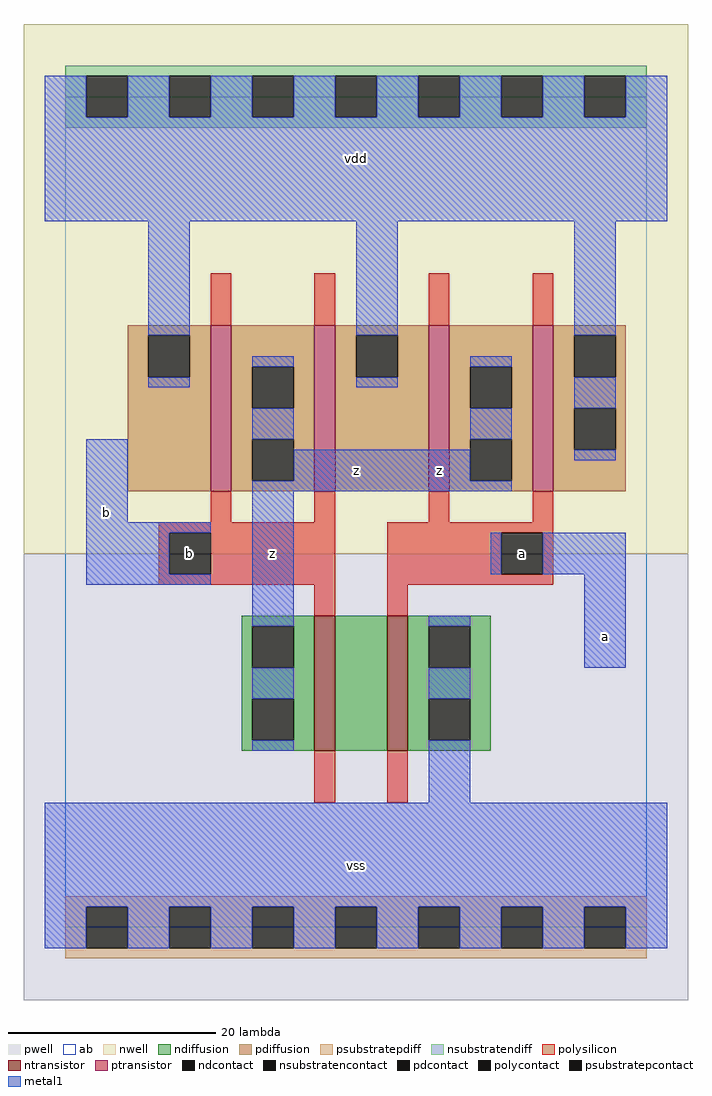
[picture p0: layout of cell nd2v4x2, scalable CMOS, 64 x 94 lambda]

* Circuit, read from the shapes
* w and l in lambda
.subckt nd2v4x2 a b vdd vss z
M1 n1 b z vss nfet w=13 l=2
M2 vss a n1 vss nfet w=13 l=2
M3 z b vdd vdd pfet w=16 l=2 m=2
M4 z a vdd vdd pfet w=16 l=2 m=2
.ends

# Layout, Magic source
magic
tech scmos
<< ab >>
rect 0 0 56 80
<< pwell >>
rect -4 -7 60 36
<< nwell >>
rect -4 36 60 87
<< polysilicon >>
rect 14 58 16 63
rect 24 58 26 63
rect 35 58 37 63
rect 45 58 47 63
rect 14 39 16 42
rect 24 39 26 42
rect 35 39 37 42
rect 45 39 47 42
rect 9 38 26 39
rect 9 34 10 38
rect 14 34 26 38
rect 9 33 26 34
rect 24 30 26 33
rect 31 38 47 39
rect 31 34 42 38
rect 46 34 47 38
rect 31 33 47 34
rect 31 30 33 33
rect 24 12 26 17
rect 31 12 33 17
<< ndiffusion >>
rect 17 29 24 30
rect 17 25 18 29
rect 22 25 24 29
rect 17 22 24 25
rect 17 18 18 22
rect 22 18 24 22
rect 17 17 24 18
rect 26 17 31 30
rect 33 29 41 30
rect 33 25 35 29
rect 39 25 41 29
rect 33 22 41 25
rect 33 18 35 22
rect 39 18 41 22
rect 33 17 41 18
<< pdiffusion >>
rect 6 57 14 58
rect 6 53 8 57
rect 12 53 14 57
rect 6 42 14 53
rect 16 54 24 58
rect 16 50 18 54
rect 22 50 24 54
rect 16 47 24 50
rect 16 43 18 47
rect 22 43 24 47
rect 16 42 24 43
rect 26 57 35 58
rect 26 53 28 57
rect 32 53 35 57
rect 26 42 35 53
rect 37 54 45 58
rect 37 50 39 54
rect 43 50 45 54
rect 37 47 45 50
rect 37 43 39 47
rect 43 43 45 47
rect 37 42 45 43
rect 47 57 54 58
rect 47 53 49 57
rect 53 53 54 57
rect 47 50 54 53
rect 47 46 49 50
rect 53 46 54 50
rect 47 42 54 46
<< metal1 >>
rect -2 78 2 82
rect 6 78 10 82
rect 14 78 18 82
rect 22 78 26 82
rect 30 78 34 82
rect 38 78 42 82
rect 46 78 50 82
rect 54 78 58 82
rect -2 68 58 78
rect 8 57 12 68
rect 28 57 32 68
rect 8 52 12 53
rect 18 54 22 55
rect 49 57 53 68
rect 28 52 32 53
rect 39 54 43 55
rect 18 47 22 50
rect 2 39 6 47
rect 39 47 43 50
rect 22 43 39 46
rect 49 50 53 53
rect 49 45 53 46
rect 18 42 43 43
rect 2 38 14 39
rect 2 34 10 38
rect 2 33 14 34
rect 18 29 22 42
rect 41 34 42 38
rect 46 34 54 38
rect 18 22 22 25
rect 18 17 22 18
rect 35 29 39 30
rect 50 25 54 34
rect 35 22 39 25
rect 35 12 39 18
rect -2 2 58 12
rect -2 -2 2 2
rect 6 -2 10 2
rect 14 -2 18 2
rect 22 -2 26 2
rect 30 -2 34 2
rect 38 -2 42 2
rect 46 -2 50 2
rect 54 -2 58 2
<< ntransistor >>
rect 24 17 26 30
rect 31 17 33 30
<< ptransistor >>
rect 14 42 16 58
rect 24 42 26 58
rect 35 42 37 58
rect 45 42 47 58
<< polycontact >>
rect 10 34 14 38
rect 42 34 46 38
<< ndcontact >>
rect 18 25 22 29
rect 18 18 22 22
rect 35 25 39 29
rect 35 18 39 22
<< pdcontact >>
rect 8 53 12 57
rect 18 50 22 54
rect 18 43 22 47
rect 28 53 32 57
rect 39 50 43 54
rect 39 43 43 47
rect 49 53 53 57
rect 49 46 53 50
<< psubstratepcontact >>
rect 2 -2 6 2
rect 10 -2 14 2
rect 18 -2 22 2
rect 26 -2 30 2
rect 34 -2 38 2
rect 42 -2 46 2
rect 50 -2 54 2
<< nsubstratencontact >>
rect 2 78 6 82
rect 10 78 14 82
rect 18 78 22 82
rect 26 78 30 82
rect 34 78 38 82
rect 42 78 46 82
rect 50 78 54 82
<< psubstratepdiff >>
rect 0 2 56 3
rect 0 -2 2 2
rect 6 -2 10 2
rect 14 -2 18 2
rect 22 -2 26 2
rect 30 -2 34 2
rect 38 -2 42 2
rect 46 -2 50 2
rect 54 -2 56 2
rect 0 -3 56 -2
<< nsubstratendiff >>
rect 0 82 56 83
rect 0 78 2 82
rect 6 78 10 82
rect 14 78 18 82
rect 22 78 26 82
rect 30 78 34 82
rect 38 78 42 82
rect 46 78 50 82
rect 54 78 56 82
rect 0 77 56 78
<< labels >>
rlabel metal1 4 40 4 40 6 b
rlabel polycontact 12 36 12 36 6 b
rlabel metal1 20 36 20 36 6 z
rlabel metal1 28 6 28 6 6 vss
rlabel metal1 36 44 36 44 6 z
rlabel metal1 28 44 28 44 6 z
rlabel metal1 28 74 28 74 6 vdd
rlabel polycontact 44 36 44 36 6 a
rlabel metal1 52 28 52 28 6 a
<< end >>
